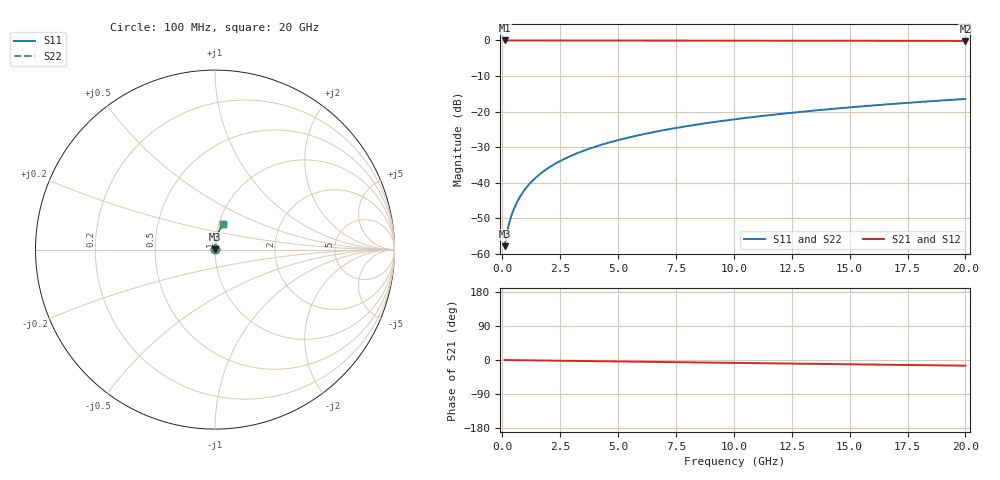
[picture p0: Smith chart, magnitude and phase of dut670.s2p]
! Touchstone file exported from HFSS 2026.1.0
!  File:  C:/ffzhzh/LocalFiles/Ansys_Project_Files/temp_train_BSMRDL_670_1783017327_4048.aedt
!  Generated:  02:36:48 AM Jul  3, 2026
!  Design:  BSMRDL
!  Project:  temp_train_BSMRDL_670_1783017327_4048
! Variables:
!  h_bsmrdl = 4.89um
!  h_ox = 20um
!  h_rdl = 5um
!  h_sub = 80um
!  h_tmrdl = 5um
!  h_tsv = 80um
!  h_via = 3um
!  l_bsmrdl = 191.78um
!  l_sub = 591.78um
!  l_tmrdl = 200um
!  m_sub = 200um
!  pitch = 40.81um
!  r_tsv = 6um
!  s_tmrdl = 10um
!  w_bsmrdl = 17.23um
!  w_sub = 500um
!  w_tmrdl = 12um
!  x_tsv_center1 = 206um
!  x_tsv_center2 = 415.01um
!  x_tsv_center3 = 627.01um
!  x_tsv_center4 = 836.02um
!  x_tsv_center5 = 1048.02um
!  x_tsv_center6 = 1257.03um
# GHz S MA R 50.000000
! Terminal data exported
! Port[1] = BSM_RDL1_1_T1
! Port[2] = BSM_RDL1_1_T2
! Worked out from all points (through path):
!   200 points, 100 MHz to 20 GHz, reference 50 ohm
!   highest |S21| = -0.01 dB at 100 MHz (marker M1); lowest = -0.1 dB at 20 GHz (marker M2)
!   group delay of S21, straight-line fit = 2.08 ps
!   lowest |S11| = -57.8 dB at 100 MHz (marker M3), VSWR 1.00, Z = 50.1 + j0.0869 ohm
!   |S11| at or under -10 dB: start of sweep to end of sweep
!   |S22| runs from -57.8 to -16.4 dB; largest |S21 - S12| = 3.3e-15
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0.1  0.001283 42.5  0.9991 -0.1  0.9991 -0.1  0.001283 42.5
! Gamma 0 0 0 0
! Port Impedance 50 0 50 0
0.2  0.001973 59.8  0.999 -0.2  0.999 -0.2  0.001973 59.8
0.3  0.002725 67.6  0.999 -0.2  0.999 -0.2  0.002725 67.6
0.4  0.003492 72.0  0.9989 -0.3  0.9989 -0.3  0.003492 72.0
0.5  0.004269 74.9  0.9989 -0.4  0.9989 -0.4  0.004269 74.9
0.6  0.005052 77.0  0.9989 -0.5  0.9989 -0.5  0.005052 77.0
0.8  0.006631 79.6  0.9988 -0.6  0.9988 -0.6  0.006631 79.6
1.1  0.009019 81.6  0.9988 -0.9  0.9988 -0.9  0.009019 81.6
1.5  0.01221 83.0  0.9987 -1.2  0.9987 -1.2  0.01221 83.0
1.8  0.01461 83.5  0.9986 -1.4  0.9986 -1.4  0.01461 83.5
2.1  0.017 83.7  0.9985 -1.6  0.9985 -1.6  0.017 83.7
2.7  0.02176 83.9  0.9982 -2.1  0.9982 -2.1  0.02176 83.9
3.5  0.02806 83.7  0.9979 -2.7  0.9979 -2.7  0.02806 83.7
4.2  0.03352 83.4  0.9975 -3.2  0.9975 -3.2  0.03352 83.4
5  0.03972 83.0  0.997 -3.9  0.997 -3.9  0.03972 83.0
5.9  0.04663 82.5  0.9965 -4.5  0.9965 -4.5  0.04663 82.5
6.8  0.05349 82.0  0.9959 -5.2  0.9959 -5.2  0.05349 82.0
8.3  0.06485 81.0  0.9949 -6.3  0.9949 -6.3  0.06485 81.0
10.1  0.07836 79.9  0.9936 -7.7  0.9936 -7.7  0.07836 79.9
13.4  0.1028 77.7  0.9908 -10.1  0.9908 -10.1  0.1028 77.7
16.7  0.1269 75.5  0.9876 -12.6  0.9876 -12.6  0.1269 75.5
20  0.1506 73.2  0.9839 -15.0  0.9839 -15.0  0.1506 73.2
